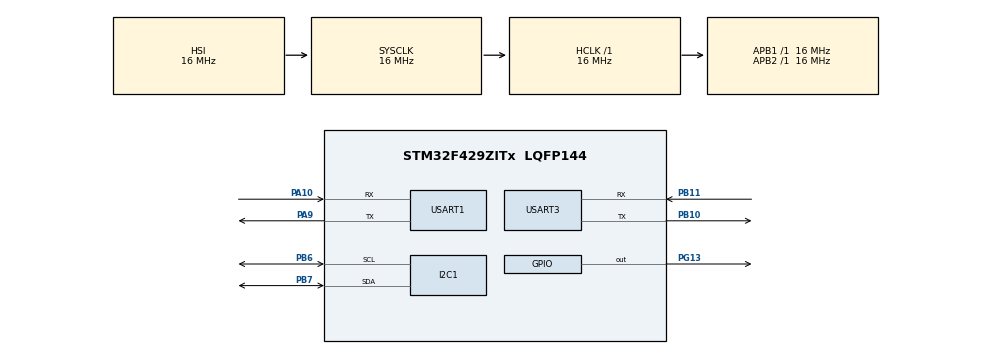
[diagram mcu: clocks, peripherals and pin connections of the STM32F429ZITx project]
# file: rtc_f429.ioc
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Mcu.Family=STM32F4
Mcu.Name=STM32F429ZITx
Mcu.Package=LQFP144
NVIC.PriorityGroup=NVIC_PRIORITYGROUP_4
NVIC.USART1_IRQn=true\:0\:0\:false\:false\:true\:true\:true\:true
NVIC.USART3_IRQn=true\:0\:0\:false\:false\:true\:true\:true\:true
PA10.Mode=Asynchronous
PA10.Signal=USART1_RX
PA9.Mode=Asynchronous
PA9.Signal=USART1_TX
PB10.Mode=Asynchronous
PB10.Signal=USART3_TX
PB11.Mode=Asynchronous
PB11.Signal=USART3_RX
PB6.Mode=I2C
PB6.Signal=I2C1_SCL
PB7.Mode=I2C
PB7.Signal=I2C1_SDA
PG13.Signal=GPIO_Output
PH0/OSC_IN.Mode=HSE-External-Oscillator
PH0/OSC_IN.Signal=RCC_OSC_IN
PH1/OSC_OUT.Mode=HSE-External-Oscillator
PH1/OSC_OUT.Signal=RCC_OSC_OUT
ProjectManager.HeapSize=0x200
ProjectManager.StackSize=0x400
ProjectManager.TargetToolchain=STM32CubeIDE
RCC.AHBFreq_Value=16000000
RCC.APB1Freq_Value=16000000
RCC.APB2Freq_Value=16000000
RCC.CortexFreq_Value=16000000
RCC.HSE_VALUE=25000000
RCC.HSI_VALUE=16000000
RCC.LSE_VALUE=32768
RCC.RCC_RTC_Clock_Source=RCC_RTCCLKSOURCE_LSI
RCC.RCC_RTC_Clock_SourceVirtual=RCC_RTCCLKSOURCE_LSE
RCC.SYSCLKFreq_VALUE=16000000
RCC.VCOOutputFreq_Value=192000000
RTC.Hours=1
RTC.Minutes=2
RTC.Seconds=3
RTC.Year=22
USART1.VirtualMode=VM_ASYNC
USART3.VirtualMode=VM_ASYNC
VP_RTC_VS_RTC_Activate.Mode=RTC_Enabled
VP_RTC_VS_RTC_Calendar.Mode=RTC_Calendar
board=custom

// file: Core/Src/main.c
/* USER CODE BEGIN Header */
/**
  ******************************************************************************
  * @file           : main.c
  * @brief          : Main program body
  ******************************************************************************
  * @attention
  *
  * Copyright (c) 2022 STMicroelectronics.
  * All rights reserved.
  *
  * This software is licensed under terms that can be found in the LICENSE file
  * in the root directory of this software component.
  * If no LICENSE file comes with this software, it is provided AS-IS.
  *
  ******************************************************************************
  */
/* USER CODE END Header */
#include "main.h"

/* USER CODE BEGIN Includes */
#include <stdbool.h>
#include <stdio.h>
/* USER CODE END Includes */

I2C_HandleTypeDef hi2c1;

RTC_HandleTypeDef hrtc;

UART_HandleTypeDef huart1;
UART_HandleTypeDef huart3;

/* USER CODE BEGIN PV */
__IO ITStatus Uart3TxReady = RESET;
__IO ITStatus Uart3RxReady = RESET;

uint8_t UART3RxBuf[17] = {0,0,0,0,0,0,0,0,}, UART3RxBuf1 = 0;
uint8_t RcvData[7] = { 0, };
int32_t gCntRx1 = 0;
bool bFromPCCmdFailCplt = true;
bool gCmdRx1Info = false;

uint16_t SinDat[100]={1000,1063,1125,1187,1249,1309,1368,1426,1482,1536
					,1588,1637,1685,1729,1771,1809,1844,1876,1905,1930
					,1951,1969,1982,1992,1998,2000,1998,1992,1982,1969
					,1951,1930,1905,1876,1844,1809,1771,1729,1685,1637
					,1588,1536,1482,1426,1368,1309,1249,1187,1125,1063
					,1000,937 ,875 ,813 ,751 ,691 ,632 ,574 ,518 ,464
					,412 ,363	,315 ,271 ,229 ,191 ,156 ,124 ,95  ,70
					,49  ,31  ,18  ,8   ,2   ,0   ,2   ,8   ,18  ,31
					,49  ,70  ,95  ,124 ,156 ,191 ,229 ,271 ,315 ,363
					,412 ,464 ,518 ,574 ,632 ,691 ,751 ,813 ,875 ,937};
int32_t gi=0;

// variables for RTC :

//sXXXInfo : save from PC data
//sXXXInfoGet : save internal rtc data
//BKP_sXXXInfo : compare current time and saved value, and then save it if not same

RTC_DateTypeDef sDateInfo = {0x99,0x99,0x99,0x99};
RTC_DateTypeDef sDateInfoGet = {0,};

RTC_TimeTypeDef sTimeInfo;
RTC_TimeTypeDef sTimeInfoGet;

RTC_DateTypeDef Bakcup_sDateInfo = {0};
RTC_TimeTypeDef Bakcup_sTimeInfo = {0};
RTC_DateTypeDef BKP_sDateInfo = {0};
RTC_TimeTypeDef BKP_sTimeInfo = {0};
RTC_DateTypeDef BKP1_sDateInfo = {0};
RTC_TimeTypeDef BKP1_sTimeInfo = {0};
uint16_t NewRTCData = 0x32F2;
bool bTimeFlg = false,bTimeFlg2 = false;
/* USER CODE END PV */

void SystemClock_Config(void);
static void MX_GPIO_Init(void);
static void MX_USART1_UART_Init(void);
static void MX_USART3_UART_Init(void);
static void MX_RTC_Init(void);
static void MX_I2C1_Init(void);
/* USER CODE BEGIN PFP */
void Channel0Func(void);
void Channel1Func(void);
void Channel2Func(void);
void Channel3Func(void);
void Channel4Func(void);
void Channel5Func(void);

void (*fptr[6])(void) = {
	Channel0Func, 			// 0
	Channel1Func, 			// 1
	Channel2Func, 			// 2
	Channel3Func, 			// 3
	Channel4Func, 			// 4
	Channel5Func, 			// 5
};

int16_t Ra_Con(char* Cmd);
unsigned char hextoint(unsigned char *hex);
void Report500msForPC(uint16_t RetNum, uint8_t *RxInd);

void RTC_InitWithPC(void);
void RTC_ConfigOnPOR(void);
static void RTC_Config(uint16_t RTCBKPDat);
/* USER CODE END PFP */

int main(void)
{
  /* USER CODE BEGIN 1 */
	int16_t i=0, RetNum = 0;
		uint8_t RxInd = 0xFF;
  /* USER CODE END 1 */

  /* MCU Configuration--------------------------------------------------------*/

  /* Reset of all peripherals, Initializes the Flash interface and the Systick. */
  HAL_Init();

  /* Configure the system clock */
  SystemClock_Config();

  /* Initialize all configured peripherals */
  MX_GPIO_Init();
  MX_USART1_UART_Init();
  MX_USART3_UART_Init();
  MX_RTC_Init();
  MX_I2C1_Init();
  /* USER CODE BEGIN 2 */
	HAL_RTCEx_BKUPWrite(&hrtc,RTC_BKP_DR4,0);
  /* USER CODE END 2 */

  /* Infinite loop */
  while (1)
  {

    /* USER CODE BEGIN 3 */
	  RTC_InitWithPC();

	  HAL_UART_Receive_IT(&huart3,&UART3RxBuf1,1);

	  		if (Uart3RxReady==SET) {
	  			if (UART3RxBuf1==0x73) {
	  				Report500msForPC(RetNum,&RxInd);
	  			} else {

	  				if ((UART3RxBuf1=='q')||(gCmdRx1Info==true)) {
	  					gCmdRx1Info = true;
	  					UART3RxBuf[gCntRx1] = UART3RxBuf1;
	  					Uart3RxReady = RESET;
	  					if (gCntRx1==16) {
	  						gCntRx1 = 0;
	  						RetNum = Ra_Con((char*)UART3RxBuf);
	  						if (RetNum==-1) {
	  							bFromPCCmdFailCplt = false; // There is something wrong with received data.
	  						} else {
	  							bFromPCCmdFailCplt = true;
	  							RxInd = RcvData[0];
	  							fptr[RxInd]();
	  						}
	  						for (i = 0; i<18; i++) {
	  							UART3RxBuf[i] = 0;
	  						}
	  						for (i = 0; i<8; i++) {
	  							RcvData[i] = 0;
	  						}
	  						gCmdRx1Info = false;
	  					} else {
	  						gCntRx1++;
	  					}
	  					UART3RxBuf1 = 0;
	  				}

	  			}
	  		}
  }
  /* USER CODE END 3 */
}

void SystemClock_Config(void)
{
  RCC_OscInitTypeDef RCC_OscInitStruct = {0};
  RCC_ClkInitTypeDef RCC_ClkInitStruct = {0};

  /** Configure the main internal regulator output voltage
  */
  __HAL_RCC_PWR_CLK_ENABLE();
  __HAL_PWR_VOLTAGESCALING_CONFIG(PWR_REGULATOR_VOLTAGE_SCALE3);

  /** Initializes the RCC Oscillators according to the specified parameters
  * in the RCC_OscInitTypeDef structure.
  */
  RCC_OscInitStruct.OscillatorType = RCC_OSCILLATORTYPE_HSI|RCC_OSCILLATORTYPE_LSI;
  RCC_OscInitStruct.HSIState = RCC_HSI_ON;
  RCC_OscInitStruct.HSICalibrationValue = RCC_HSICALIBRATION_DEFAULT;
  RCC_OscInitStruct.LSIState = RCC_LSI_ON;
  RCC_OscInitStruct.PLL.PLLState = RCC_PLL_NONE;
  if (HAL_RCC_OscConfig(&RCC_OscInitStruct) != HAL_OK)
  {
    Error_Handler();
  }

  /** Initializes the CPU, AHB and APB buses clocks
  */
  RCC_ClkInitStruct.ClockType = RCC_CLOCKTYPE_HCLK|RCC_CLOCKTYPE_SYSCLK
                              |RCC_CLOCKTYPE_PCLK1|RCC_CLOCKTYPE_PCLK2;
  RCC_ClkInitStruct.SYSCLKSource = RCC_SYSCLKSOURCE_HSI;
  RCC_ClkInitStruct.AHBCLKDivider = RCC_SYSCLK_DIV1;
  RCC_ClkInitStruct.APB1CLKDivider = RCC_HCLK_DIV1;
  RCC_ClkInitStruct.APB2CLKDivider = RCC_HCLK_DIV1;

  if (HAL_RCC_ClockConfig(&RCC_ClkInitStruct, FLASH_LATENCY_0) != HAL_OK)
  {
    Error_Handler();
  }
}

static void MX_I2C1_Init(void)
{

  hi2c1.Instance = I2C1;
  hi2c1.Init.ClockSpeed = 100000;
  hi2c1.Init.DutyCycle = I2C_DUTYCYCLE_2;
  hi2c1.Init.OwnAddress1 = 0;
  hi2c1.Init.AddressingMode = I2C_ADDRESSINGMODE_7BIT;
  hi2c1.Init.DualAddressMode = I2C_DUALADDRESS_DISABLE;
  hi2c1.Init.OwnAddress2 = 0;
  hi2c1.Init.GeneralCallMode = I2C_GENERALCALL_DISABLE;
  hi2c1.Init.NoStretchMode = I2C_NOSTRETCH_DISABLE;
  if (HAL_I2C_Init(&hi2c1) != HAL_OK)
  {
    Error_Handler();
  }

  /** Configure Analogue filter
  */
  if (HAL_I2CEx_ConfigAnalogFilter(&hi2c1, I2C_ANALOGFILTER_ENABLE) != HAL_OK)
  {
    Error_Handler();
  }

  /** Configure Digital filter
  */
  if (HAL_I2CEx_ConfigDigitalFilter(&hi2c1, 0) != HAL_OK)
  {
    Error_Handler();
  }

}

static void MX_RTC_Init(void)
{

  /* USER CODE BEGIN RTC_Init 0 */
#if 0
  /* USER CODE END RTC_Init 0 */

  RTC_TimeTypeDef sTime = {0};
  RTC_DateTypeDef sDate = {0};

  /* USER CODE BEGIN RTC_Init 1 */
#endif
  /* USER CODE END RTC_Init 1 */

  /** Initialize RTC Only
  */
  hrtc.Instance = RTC;
  hrtc.Init.HourFormat = RTC_HOURFORMAT_24;
  hrtc.Init.AsynchPrediv = 127;
  hrtc.Init.SynchPrediv = 255;
  hrtc.Init.OutPut = RTC_OUTPUT_DISABLE;
  hrtc.Init.OutPutPolarity = RTC_OUTPUT_POLARITY_HIGH;
  hrtc.Init.OutPutType = RTC_OUTPUT_TYPE_OPENDRAIN;
  if (HAL_RTC_Init(&hrtc) != HAL_OK)
  {
    Error_Handler();
  }

  /* USER CODE BEGIN Check_RTC_BKUP */
#if 0
  /* USER CODE END Check_RTC_BKUP */

  /** Initialize RTC and set the Time and Date
  */
  sTime.Hours = 0x1;
  sTime.Minutes = 0x2;
  sTime.Seconds = 0x3;
  sTime.DayLightSaving = RTC_DAYLIGHTSAVING_NONE;
  sTime.StoreOperation = RTC_STOREOPERATION_RESET;
  if (HAL_RTC_SetTime(&hrtc, &sTime, RTC_FORMAT_BCD) != HAL_OK)
  {
    Error_Handler();
  }
  sDate.WeekDay = RTC_WEEKDAY_MONDAY;
  sDate.Month = RTC_MONTH_JANUARY;
  sDate.Date = 0x1;
  sDate.Year = 0x22;

  if (HAL_RTC_SetDate(&hrtc, &sDate, RTC_FORMAT_BCD) != HAL_OK)
  {
    Error_Handler();
  }
  /* USER CODE BEGIN RTC_Init 2 */
#endif
  /* USER CODE END RTC_Init 2 */

}

static void MX_USART1_UART_Init(void)
{

  huart1.Instance = USART1;
  huart1.Init.BaudRate = 115200;
  huart1.Init.WordLength = UART_WORDLENGTH_8B;
  huart1.Init.StopBits = UART_STOPBITS_1;
  huart1.Init.Parity = UART_PARITY_NONE;
  huart1.Init.Mode = UART_MODE_TX_RX;
  huart1.Init.HwFlowCtl = UART_HWCONTROL_NONE;
  huart1.Init.OverSampling = UART_OVERSAMPLING_16;
  if (HAL_UART_Init(&huart1) != HAL_OK)
  {
    Error_Handler();
  }

}

static void MX_USART3_UART_Init(void)
{

  huart3.Instance = USART3;
  huart3.Init.BaudRate = 115200;
  huart3.Init.WordLength = UART_WORDLENGTH_8B;
  huart3.Init.StopBits = UART_STOPBITS_1;
  huart3.Init.Parity = UART_PARITY_NONE;
  huart3.Init.Mode = UART_MODE_TX_RX;
  huart3.Init.HwFlowCtl = UART_HWCONTROL_NONE;
  huart3.Init.OverSampling = UART_OVERSAMPLING_16;
  if (HAL_UART_Init(&huart3) != HAL_OK)
  {
    Error_Handler();
  }

}

static void MX_GPIO_Init(void)
{
  GPIO_InitTypeDef GPIO_InitStruct = {0};

  /* GPIO Ports Clock Enable */
  __HAL_RCC_GPIOH_CLK_ENABLE();
  __HAL_RCC_GPIOB_CLK_ENABLE();
  __HAL_RCC_GPIOA_CLK_ENABLE();
  __HAL_RCC_GPIOG_CLK_ENABLE();

  /*Configure GPIO pin Output Level */
  HAL_GPIO_WritePin(GPIOG, GPIO_PIN_13, GPIO_PIN_RESET);

  /*Configure GPIO pin : PG13 */
  GPIO_InitStruct.Pin = GPIO_PIN_13;
  GPIO_InitStruct.Mode = GPIO_MODE_OUTPUT_PP;
  GPIO_InitStruct.Pull = GPIO_NOPULL;
  GPIO_InitStruct.Speed = GPIO_SPEED_FREQ_LOW;
  HAL_GPIO_Init(GPIOG, &GPIO_InitStruct);

}

/* USER CODE BEGIN 4 */
void RTC_InitWithPC(void) {
	if ((HAL_RTCEx_BKUPRead(&hrtc,RTC_BKP_DR4)==1)) {
		// Check if Data stored in BackUp register1: No Need to reconfigure RTC.	Read the Back Up Register 1 Data.
		if (HAL_RTCEx_BKUPRead(&hrtc,RTC_BKP_DR5)!=NewRTCData) {
			RTC_Config(NewRTCData);  //  Configure RTC Calendar
		}
		HAL_RTCEx_BKUPWrite(&hrtc,RTC_BKP_DR4,2);
		bTimeFlg = true;
	} else {
		if ((HAL_RTCEx_BKUPRead(&hrtc,RTC_BKP_DR4)!=2)&&(!bTimeFlg2)) {
			RTC_ConfigOnPOR();
		}
	}
}

void RTC_ConfigOnPOR(void) {
	/* Get the RTC current Date */
	bTimeFlg = true;
	bTimeFlg2 = true;
	BKP_sDateInfo.Year = HAL_RTCEx_BKUPRead(&hrtc,RTC_BKP_DR1);
	BKP_sDateInfo.Month = HAL_RTCEx_BKUPRead(&hrtc,RTC_BKP_DR2);
	BKP_sDateInfo.Date = HAL_RTCEx_BKUPRead(&hrtc,RTC_BKP_DR3);

	//RdCnt=RTC_ReadTimeCounter(&hrtc)/86399;   // RTC_CNTH|RTC_CNTL
	//RTC_DateUpdate(&hrtc,RdCnt);
	HAL_RTC_GetTime(&hrtc,&sTimeInfoGet,RTC_FORMAT_BIN);
	HAL_RTCEx_BKUPWrite(&hrtc,RTC_BKP_DR1,BKP_sDateInfo.Year);
	HAL_RTCEx_BKUPWrite(&hrtc,RTC_BKP_DR2,BKP_sDateInfo.Month);
	HAL_RTCEx_BKUPWrite(&hrtc,RTC_BKP_DR3,BKP_sDateInfo.Date);
}

// Configure the current time and date.
static void RTC_Config(uint16_t RTCBKPDat)
{
	/*##-1- Configure the Date #################################################*/
	/* Set System Date: Thursday Sept 19th 2019 */
	if (HAL_RTC_SetDate(&hrtc,&sDateInfo,RTC_FORMAT_BIN)!=HAL_OK)  {
		Error_Handler();     // Initialization Error
	}
	/*##-2- Configure the Time #################################################*/
	/* Set System Time: 14:15:00 */
	if (HAL_RTC_SetTime(&hrtc,&sTimeInfo,RTC_FORMAT_BIN)!=HAL_OK)  {
		Error_Handler();     // Initialization Error
	}

	/*##-3- Writes a data in a RTC Backup data Register1 #######################*/
	HAL_RTCEx_BKUPWrite(&hrtc,RTC_BKP_DR5,RTCBKPDat);
}

void Report500msForPC(uint16_t RetNum, uint8_t *RxInd) {
	uint16_t i = 0, Tmp = 0, YearMon = 0, DayHour = 0, MinuteSecond = 0;
	uint8_t ch = 0, STX = 0x2, ETX=0x3, ChkSum=0;
		HAL_UART_Transmit(&huart3, (uint8_t*)&STX, 1, 10);
		for (i = 0; i<5; i++) {
			switch (i) {
			case 0:
				Tmp = SinDat[gi];
				gi++;
				gi %= 100;
				break;
			case 1:
				if (bFromPCCmdFailCplt) {  // bFromPCCmdFailCplt=true means communication between PC and MCU is OK.
				bFromPCCmdFailCplt = false;
				Tmp = RetNum;
				}
				break;
			case 2:
				Tmp = YearMon;
				break;
			case 3:
				Tmp = DayHour;
				break;
			case 4:
				Tmp = MinuteSecond;
				break;
			default:
				break;
			}

			ch = Tmp>>8;
			ChkSum +=ch;
			HAL_UART_Transmit(&huart3, (uint8_t*)&ch, 1, 10);

			ch = (uint8_t)Tmp;
			ChkSum +=ch;
			HAL_UART_Transmit(&huart3, (uint8_t*)&ch, 1, 10);

			if (bTimeFlg) {
				/* Get the RTC current Date */
				HAL_RTC_GetDate(&hrtc,&sDateInfoGet,RTC_FORMAT_BIN);
				/* Get the RTC current Time */
				HAL_RTC_GetTime(&hrtc,&sTimeInfoGet,RTC_FORMAT_BIN);
				YearMon = ((sDateInfoGet.Year)<<8)|sDateInfoGet.Month;  // Year : 0x21(33)-12=21
				//YearMon = ((sDateInfoGet.Year-12)<<8)|sDateInfoGet.Month;  // Year : 0x21(33)-12=21
				DayHour = ((sDateInfoGet.Date)<<8)|sTimeInfoGet.Hours;
				MinuteSecond = ((sTimeInfoGet.Minutes)<<8)|sTimeInfoGet.Seconds;
				if (sDateInfoGet.Date!=BKP_sDateInfo.Date)	{
				BKP_sDateInfo.Month = sDateInfoGet.Month;
				BKP_sDateInfo.Date = sDateInfoGet.Date;
				BKP_sDateInfo.Year = sDateInfoGet.Year;
				HAL_RTCEx_BKUPWrite(&hrtc,RTC_BKP_DR1,sDateInfoGet.Year);
				HAL_RTCEx_BKUPWrite(&hrtc,RTC_BKP_DR2,sDateInfoGet.Month);
				HAL_RTCEx_BKUPWrite(&hrtc,RTC_BKP_DR3,sDateInfoGet.Date);
				}
			}
		}
		HAL_UART_Transmit(&huart3, (uint8_t*)&ETX, 1, 10);
		HAL_UART_Transmit(&huart3, (uint8_t*)&ChkSum, 1, 10);
		Uart3RxReady = RESET;
		UART3RxBuf1 = 0;
}

void HAL_UART_RxCpltCallback(UART_HandleTypeDef *huart) {
	if (huart->Instance==USART3) {
		Uart3RxReady = SET;
	}
}

int16_t Ra_Con(char* Cmd) {
	int i, ChkSum = 0;
	unsigned char Tmp = 0;

	if ((Cmd[0]=='q')&&(Cmd[15]=='w')) {
		for (i = 1; i<15; i++)
			ChkSum += Cmd[i];
		Tmp = (unsigned char)ChkSum;
		if (Tmp==((unsigned char)Cmd[16])) {
			for (i = 0; i<7; i++) {
				RcvData[i] = hextoint((unsigned char *)(Cmd+2*i+1));
			}
		} else {
			return -1;
		}
		return RcvData[0];
	} else {
		return -1;
	}
}

unsigned char hextoint(unsigned char *hex) {
	unsigned char 	r = 0;
	unsigned char		d;
	int i = 0;

	for (i = 0; i<2; i++)	{
		d = *hex++;
		r <<= 4;
		if ((d>='0')&&(d<='9'))
			r += d-'0';
		else if ((d>='A')&&(d<='F'))
			r += d-'A'+10;
		else if ((d>='a')&&(d<='f'))
			r += d-'a'+10;
		else
			return -1;
	}
	return r;
}

// Channel 0 function : Reserved
void Channel0Func(void) {
	uint16_t YearMonth = ((*((uint16_t *)(RcvData+1)))>>8)|((*((uint16_t *)(RcvData+1)))<<8);
	uint16_t DateHour = ((*((uint16_t *)(RcvData+3)))>>8)|((*((uint16_t *)(RcvData+3)))<<8);
	uint16_t MinuteSecond = ((*((uint16_t *)(RcvData+5)))>>8)|((*((uint16_t *)(RcvData+5)))<<8);

	uint8_t NewYearDat = YearMonth>>8;
	uint8_t NewMonthDat = (uint8_t)YearMonth;
	uint8_t NewDateDat = DateHour>>8;
	uint8_t NewHourDat = (uint8_t)DateHour;
	uint8_t NewMinuteDat = MinuteSecond>>8;
	uint8_t NewSecondDat = (uint8_t)MinuteSecond;

	sDateInfo.Year = NewYearDat;
	sDateInfo.Month = NewMonthDat;
	sDateInfo.Date = NewDateDat;

	sTimeInfo.Hours = NewHourDat;
	sTimeInfo.Minutes = NewMinuteDat;
	sTimeInfo.Seconds = NewSecondDat;

	BKP_sDateInfo.Year = NewYearDat;
	BKP_sDateInfo.Month = NewMonthDat;
	BKP_sDateInfo.Date = NewDateDat;
	BKP_sTimeInfo.Hours = NewHourDat;
	BKP_sTimeInfo.Minutes = NewMinuteDat;
	BKP_sTimeInfo.Seconds = NewSecondDat;

	HAL_RTCEx_BKUPWrite(&hrtc,RTC_BKP_DR1,sDateInfo.Year);
	HAL_RTCEx_BKUPWrite(&hrtc,RTC_BKP_DR2,sDateInfo.Month);
	HAL_RTCEx_BKUPWrite(&hrtc,RTC_BKP_DR3,sDateInfo.Date);

	NewRTCData = HAL_RTCEx_BKUPRead(&hrtc,RTC_BKP_DR5)+1;
	HAL_RTCEx_BKUPWrite(&hrtc,RTC_BKP_DR4,1);
}

// Channel 1 function :
void Channel1Func(void) {

}

// Channel 2 function :
void Channel2Func(void) {

}

// Channel 3 function :
void Channel3Func(void) {

}

// Channel 4 function :
void Channel4Func(void) {

}

// Channel 5 function :
void Channel5Func(void) {

}

/* USER CODE END 4 */

void Error_Handler(void)
{
  __disable_irq();
  while (1)
  {
  }
}
